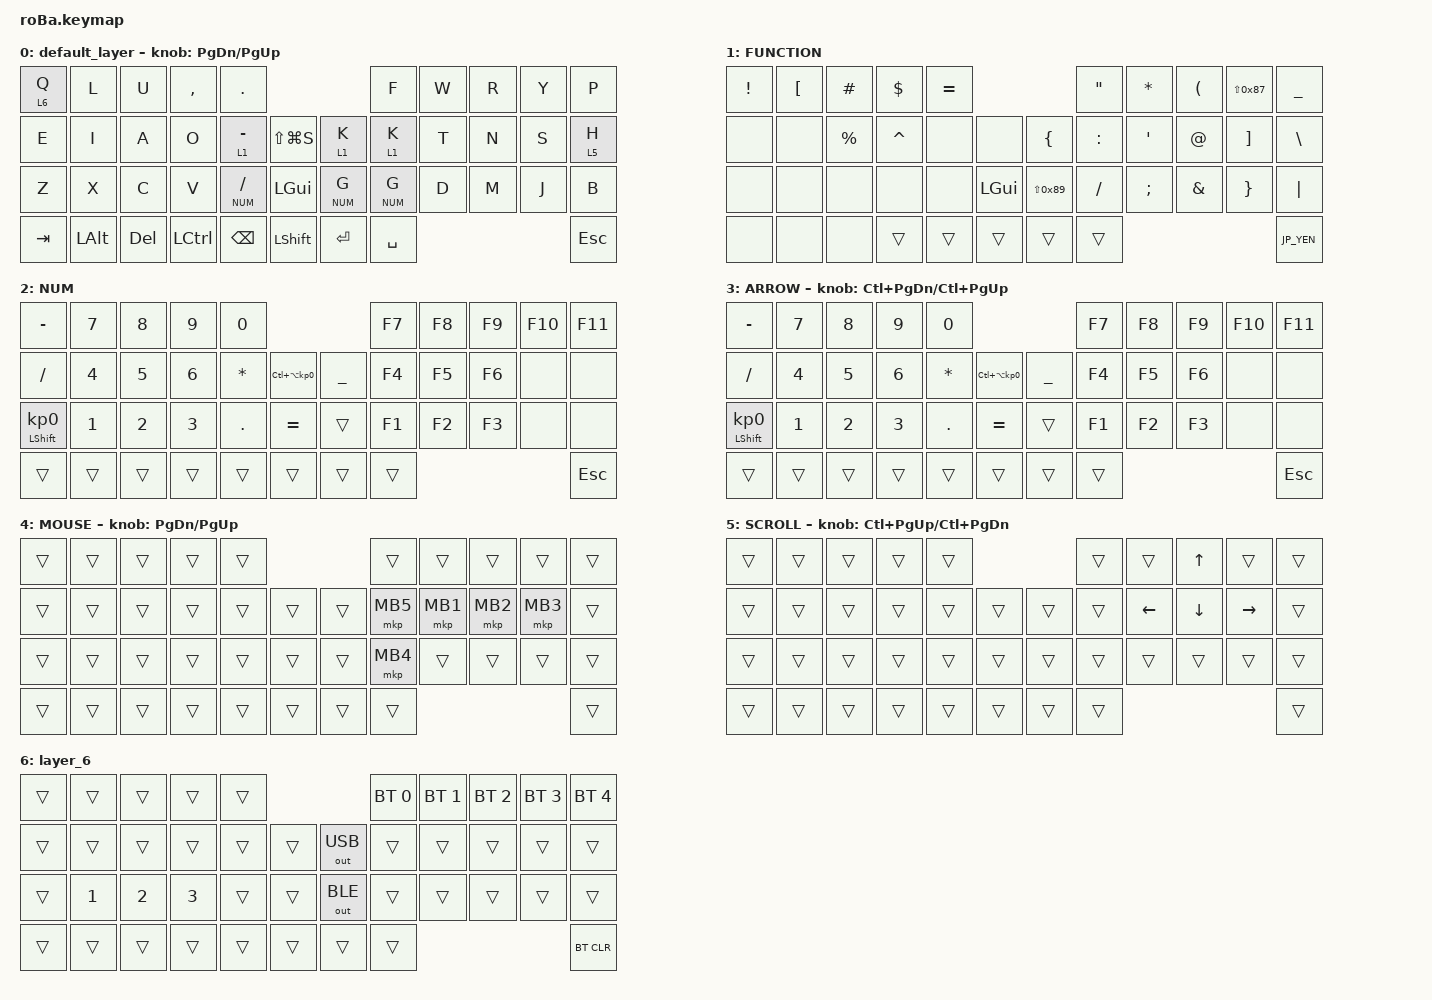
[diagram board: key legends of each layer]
#include <behaviors.dtsi>
#include <dt-bindings/zmk/bt.h>
#include <dt-bindings/zmk/keys.h>
#include <dt-bindings/zmk/pointing.h>
#include <dt-bindings/zmk/outputs.h>

#define MOUSE 4
#define SCROLL 5
#define NUM 2

// OS設定を日本語キーボードのまま使用するための変換定義
#define JP_DQUOTE       AT                // "
#define JP_AMPERSAND    CARET             // &
#define JP_QUOTE        AMPERSAND         // '
#define JP_EQUAL        UNDER             // =
#define JP_CARET        EQUAL             // ^
#define JP_YEN          0x89              // ¥
#define JP_PLUS         COLON             // +
#define JP_TILDE        PLUS              // ~
#define JP_PIPE         LS(0x89)          // |
#define JP_AT           LEFT_BRACKET      // @
#define JP_COLON        SINGLE_QUOTE      // :
#define JP_ASTERISK     DOUBLE_QUOTES     // *
#define JP_BACKQUOTE    LEFT_BRACE        // `
#define JP_UNDERSCORE   LS(0x87)          // _
#define JP_LBRACKET     RIGHT_BRACKET     // [
#define JP_RBRACKET     BACKSLASH         // ]
#define JP_LPAREN       ASTERISK          // (
#define JP_RPAREN       LEFT_PARENTHESIS  // )
#define JP_LBRACE       RIGHT_BRACE       // {
#define JP_RBRACE       PIPE              // }
#define JP_KANA         LANGUAGE_1        // かな
#define JP_EISU         LANGUAGE_2        // 英数
#define JP_HANZEN       GRAVE             // 半角/全角

&mt {
    flavor = "balanced";
    quick-tap-ms = <0>;
};

/ {
    combos { compatible = "zmk,combos"; };

    macros {
        to_layer_0: to_layer_0 {
            compatible = "zmk,behavior-macro-one-param";
            #binding-cells = <1>;
            bindings = <&to 0 &macro_param_1to1 &kp MACRO_PLACEHOLDER>;
            label = "TO_LAYER_0";
        };
    };

    behaviors {
        lt_to_layer_0: lt_to_layer_0 {
            compatible = "zmk,behavior-hold-tap";
            label = "LAYER_TAP_TO_0";
            bindings = <&mo>, <&to_layer_0>;

            #binding-cells = <2>;
            tapping-term-ms = <200>;
        };
    };

    keymap {
        compatible = "zmk,keymap";

        default_layer {
            bindings = <
&lt 6 Q    &kp L         &kp U       &kp COMMA  &kp PERIOD                                           &kp F      &kp W  &kp R  &kp Y  &kp P
&kp E    &kp I         &kp A       &kp O      &lt 1 MINUS    &kp LS(LG(S))       &lt 1 K           &lt 1 K    &kp T  &kp N  &kp S  &lt 5 H
&kp Z    &kp X         &kp C       &kp V      &lt NUM SLASH    &kp LEFT_GUI        &lt NUM G           &lt NUM G    &kp D  &kp M  &kp J  &kp B
&kp TAB  &kp LEFT_ALT  &kp DELETE  &kp LCTRL  &kp BACKSPACE  &kp LEFT_SHIFT      &kp ENTER         &kp SPACE                       &kp ESCAPE
            >;

            sensor-bindings = <&inc_dec_kp PAGE_DOWN PAGE_UP>;
        };

        FUNCTION {
            bindings = <
&kp EXCLAMATION  &kp JP_AT    &kp HASH     &kp DOLLAR    &kp JP_CARET                                         &kp JP_ASTERISK    &kp JP_LPAREN    &kp JP_RPAREN    &kp JP_UNDERSCORE    &kp JP_EQUAL
&none            &none        &kp PERCENT  &kp CARET     &none         &none               &kp JP_BACKQUOTE   &kp JP_PLUS        &kp JP_COLON     &kp JP_DQUOTE    &kp JP_LBRACKET      &kp JP_RBRACKET
&none            &none        &none        &none         &none         &kp LEFT_GUI        &kp JP_PIPE        &kp SLASH          &kp SEMICOLON    &kp JP_QUOTE     &kp JP_LBRACE        &kp JP_RBRACE
&none            &none        &none        &trans        &trans        &trans              &trans             &trans                                                                    &kp JP_YEN
            >;
        };

        NUM {
            bindings = <
&kp MINUS                   &kp NUMBER_7  &kp NUMBER_8  &kp NUMBER_9  &kp NUMBER_0                                               &kp F7   &kp F8   &kp F9    &kp F10   &kp F11
&kp SLASH                   &kp NUMBER_4  &kp NUMBER_5  &kp NUMBER_6  &kp ASTERISK  &kp LC(LA(KP_NUMBER_0))      &kp UNDERSCORE  &kp F4   &kp F5   &kp F6    &none     &none
&mt LEFT_SHIFT KP_NUMBER_0  &kp NUMBER_1  &kp NUMBER_2  &kp NUMBER_3  &kp PERIOD    &kp EQUAL                    &trans          &kp F1   &kp F2   &kp F3    &none     &none
&trans                      &trans           &trans           &trans           &trans        &trans                       &trans          &trans                                &kp ESCAPE
            >;
        };

        ARROW {
            bindings = <
&kp MINUS                   &kp NUMBER_7  &kp NUMBER_8  &kp NUMBER_9  &kp NUMBER_0                                               &kp F7   &kp F8   &kp F9    &kp F10   &kp F11
&kp SLASH                   &kp NUMBER_4  &kp NUMBER_5  &kp NUMBER_6  &kp ASTERISK  &kp LC(LA(KP_NUMBER_0))      &kp UNDERSCORE  &kp F4   &kp F5   &kp F6    &none     &none
&mt LEFT_SHIFT KP_NUMBER_0  &kp NUMBER_1  &kp NUMBER_2  &kp NUMBER_3  &kp PERIOD    &kp EQUAL                    &trans          &kp F1   &kp F2   &kp F3    &none     &none
&trans                      &trans           &trans           &trans           &trans        &trans                       &trans          &trans                                &kp ESCAPE
            >;

            sensor-bindings = <&inc_dec_kp LC(PAGE_DOWN) LC(PG_UP)>;
        };

        MOUSE {
            bindings = <
&trans  &trans  &trans  &trans  &trans                      &trans    &trans    &trans    &trans    &trans
&trans  &trans  &trans  &trans  &trans  &trans      &trans  &mkp MB5  &mkp MB1  &mkp MB2  &mkp MB3  &trans
&trans  &trans  &trans  &trans  &trans  &trans      &trans  &mkp MB4  &trans    &trans    &trans    &trans
&trans  &trans  &trans  &trans  &trans  &trans      &trans  &trans                                  &trans
            >;

            sensor-bindings = <&inc_dec_kp PAGE_DOWN PG_UP>;
        };

        SCROLL {
            bindings = <
&trans  &trans  &trans  &trans  &trans                      &trans  &trans    &kp UP_ARROW    &trans     &trans
&trans  &trans  &trans  &trans  &trans  &trans      &trans  &trans  &kp LEFT  &kp DOWN_ARROW  &kp RIGHT  &trans
&trans  &trans  &trans  &trans  &trans  &trans      &trans  &trans  &trans    &trans          &trans     &trans
&trans  &trans  &trans  &trans  &trans  &trans      &trans  &trans                                       &trans
            >;

            sensor-bindings = <&inc_dec_kp LC(PG_UP) LC(PAGE_DOWN)>;
        };

        layer_6 {
            bindings = <
&trans  &trans        &trans        &trans        &trans                           &bt BT_SEL 0  &bt BT_SEL 1  &bt BT_SEL 2  &bt BT_SEL 3  &bt BT_SEL 4
&trans  &trans        &trans        &trans        &trans  &trans      &out OUT_USB       &trans        &trans        &trans        &trans        &trans
&trans  &kp NUMBER_1  &kp NUMBER_2  &kp NUMBER_3  &trans  &trans      &out OUT_BLE  &trans        &trans        &trans        &trans        &trans
&trans  &trans        &trans        &trans        &trans  &trans      &trans       &trans                                                  &bt BT_CLR
            >;
        };
    };
};
